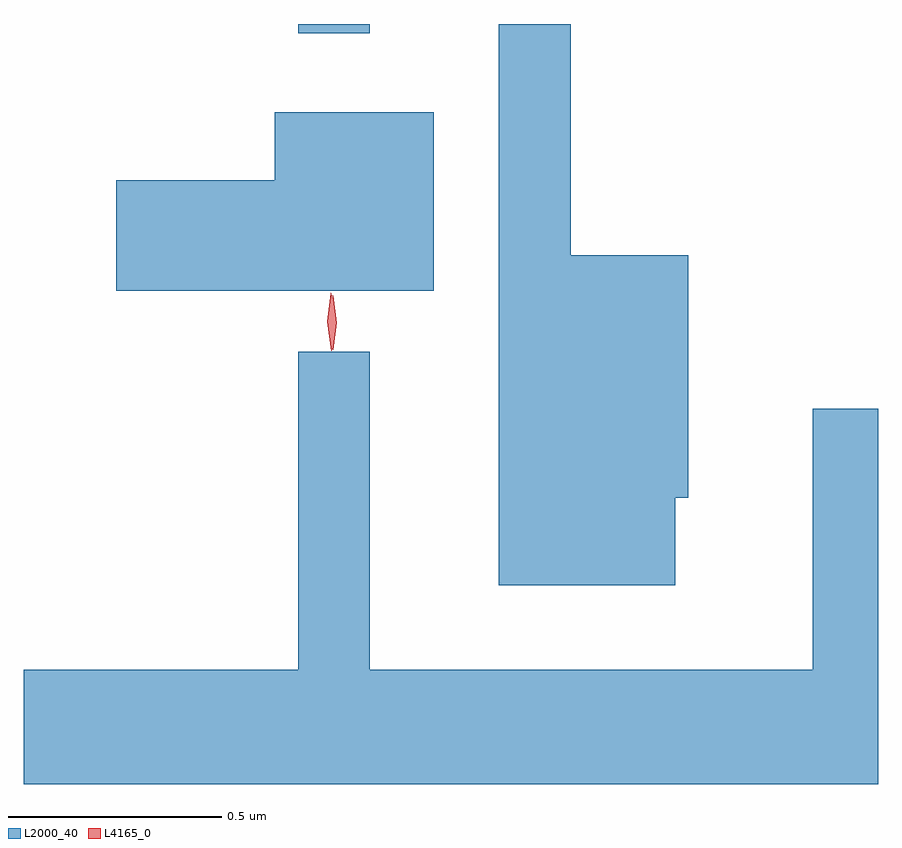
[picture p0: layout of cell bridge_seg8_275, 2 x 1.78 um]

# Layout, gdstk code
import gdstk
lib = gdstk.Library(unit=1e-6, precision=1e-09)
def R(c, l, rs):  # rectangles x0, y0, x1, y1
    for r in rs: c.add(gdstk.rectangle(r[:2], r[2:], *l))
def P(c, l, *ps):  # polygons
    for p in ps: c.add(gdstk.Polygon(p, *l))
L2000_40 = (2000, 40)
L4165_0 = (4165, 0)

bridge_seg8_275 = lib.new_cell('bridge_seg8_275')
R(bridge_seg8_275, L2000_40, [(1232.851,1831.513,1233.019,1831.535)])
P(bridge_seg8_275, L2000_40, [(1233.734,1830.426),(1233.764,1830.426),(1233.764,1830.994),(1233.489,1830.994),(1233.489,1831.535),(1233.321,1831.535),(1233.321,1830.221),(1233.734,1830.221)],
  [(1233.169,1831.329),(1232.796,1831.329),(1232.796,1831.169),(1232.426,1831.169),(1232.426,1830.911),(1233.169,1830.911)],
  [(1234.209,1830.634),(1234.056,1830.634),(1234.056,1830.024),(1233.019,1830.024),(1233.019,1830.768),(1232.851,1830.768),(1232.851,1830.024),(1232.209,1830.024),(1232.209,1829.756),(1234.209,1829.756)])
P(bridge_seg8_275, L4165_0, [(1232.929,1830.77),(1232.919,1830.838),(1232.928,1830.905),(1232.928,1830.906),(1232.929,1830.905),(1232.939,1830.838),(1232.93,1830.77),(1232.93,1830.77)],
  [(1232.932,1830.773),(1232.932,1830.773),(1232.922,1830.836),(1232.932,1830.899),(1232.932,1830.9),(1232.933,1830.899),(1232.942,1830.836),(1232.933,1830.773)])

lib.write_gds('bridge_seg8_275.gds')
